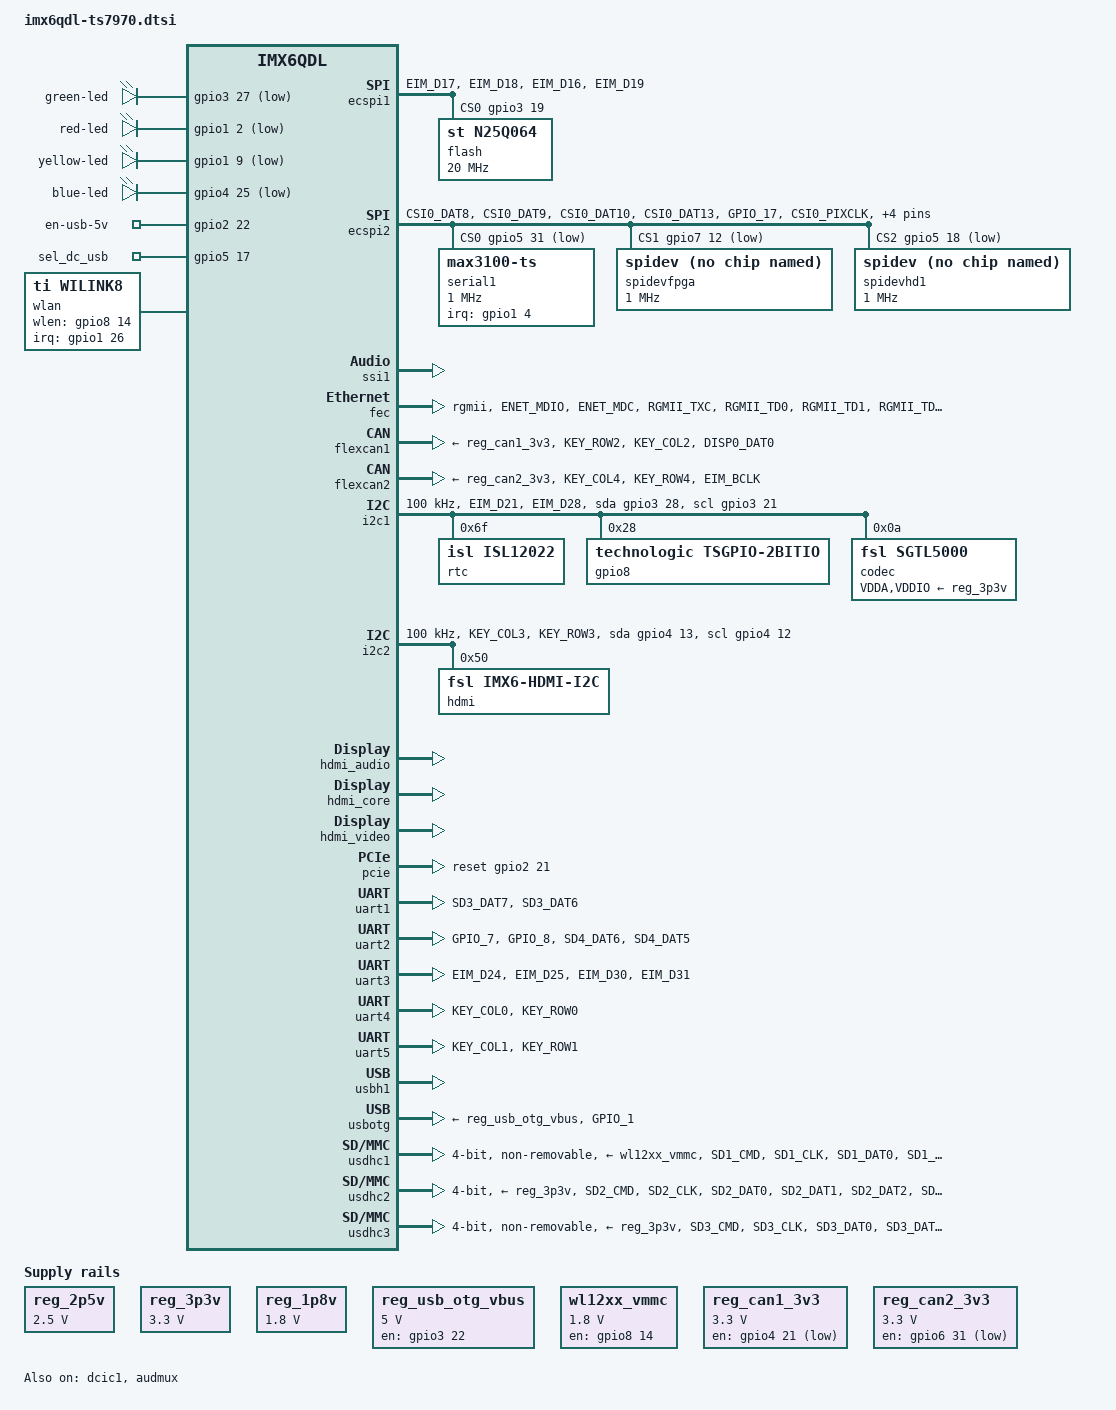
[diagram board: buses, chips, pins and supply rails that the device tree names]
/*
 * Copyright 2011 Freescale Semiconductor, Inc.
 * Copyright 2015 Technologic Systems
 *
 * The code contained herein is licensed under the GNU General Public
 * License. You may obtain a copy of the GNU General Public License
 * Version 2 or later at the following locations:
 *
 * http://www.opensource.org/licenses/gpl-license.html
 * http://www.gnu.org/copyleft/gpl.html
 */

#include <dt-bindings/interrupt-controller/irq.h>

/ {
	aliases {
		mxcfb0 = &mxcfb0;
		ethernet0 = &fec;
	};

	leds {
		pinctrl-names = "default";
		pinctrl-0 = <&pinctrl_leds1>;
		compatible = "gpio-leds";

		green-led {
			label = "green-led";
			gpios = <&gpio3 27 GPIO_ACTIVE_LOW>;
			default-state = "on";
		};

		red-led {
			label = "red-led";
			gpios = <&gpio1 2 GPIO_ACTIVE_LOW>;
			default-state = "off";
		};

		yel-led {
			label = "yellow-led";
			gpios = <&gpio1 9 GPIO_ACTIVE_LOW>;
			default-state = "off";
		};

		blue-led {
			label = "blue-led";
			gpios = <&gpio4 25 GPIO_ACTIVE_LOW>;
			default-state = "off";
		};

		// These are intended as userspace controlled IO.  In this kernel
		// version LEDs are the best interface I can find to allow both
		// userspace control and a default value.
		en-usb-5v {
			label = "en-usb-5v";
			gpios = <&gpio2 22 0>;
			default-state = "on";
		};

		sel_dc_usb {
			label = "sel_dc_usb";
			gpios = <&gpio5 17 0>;
			default-state = "off";
		};
	};

	regulators {
		compatible = "simple-bus";

		reg_2p5v: 2p5v {
			compatible = "regulator-fixed";
			regulator-name = "2P5V";
			regulator-min-microvolt = <2500000>;
			regulator-max-microvolt = <2500000>;
			regulator-always-on;
		};

		reg_3p3v: 3p3v {
			compatible = "regulator-fixed";
			regulator-name = "3P3V";
			regulator-min-microvolt = <3300000>;
			regulator-max-microvolt = <3300000>;
			regulator-always-on;
		};

		reg_1p8v: 1p8v {
			compatible = "regulator-fixed";
			regulator-name = "1P8V";
			regulator-min-microvolt = <1800000>;
			regulator-max-microvolt = <1800000>;
			regulator-always-on;
		};

		reg_usb_otg_vbus: usb_otg_vbus {
			compatible = "regulator-fixed";
			regulator-name = "usb_otg_vbus";
			regulator-min-microvolt = <5000000>;
			regulator-max-microvolt = <5000000>;
			gpio = <&gpio3 22 0>;
			enable-active-high;
		};

		wl12xx_vmmc: wl12xx_vmmc {
			compatible = "regulator-fixed";
			regulator-name = "wl12xx_vmmc";
			regulator-min-microvolt = <1800000>;
			regulator-max-microvolt = <1800000>;
			gpio = <&gpio8 14 0>;
			startup-delay-us = <100000>;
			enable-active-high;
			regulator-boot-on;
		};

		usb-hub-reset {
			label = "usb-hub-reset";
			regulator-min-microvolt = <5000000>;
			regulator-max-microvolt = <5000000>;
			gpios = <&gpio2 11 0>;
			enable-active-high;
			startup-delay-us = <200>;
		};

		reg_can1_3v3: reg_can1_3v3 {
			compatible = "regulator-fixed";
			regulator-name = "reg_can1_3v3";
			regulator-min-microvolt = <3300000>;
			regulator-max-microvolt = <3300000>;
			gpio = <&gpio4 21 1>;
		};

		reg_can2_3v3: en-reg_can2_3v3 {
			compatible = "regulator-fixed";
			regulator-name = "reg_can2_3v3";
			regulator-min-microvolt = <3300000>;
			regulator-max-microvolt = <3300000>;
			gpio = <&gpio6 31 1>;
		};
	};

	sound {
		compatible = "fsl,imx6q-ts7970-sgtl5000",
			     "fsl,imx-audio-sgtl5000";
		model = "imx6q-ts7970-sgtl5000";
		cpu-dai = <&ssi1>;
		audio-codec = <&codec>;
		audio-routing =
			"MIC_IN", "Mic Jack",
			"Mic Jack", "Mic Bias",
			"Headphone Jack", "HP_OUT";
		mux-int-port = <1>;
		mux-ext-port = <3>;
	};

	sound-hdmi {
		compatible = "fsl,imx6q-audio-hdmi",
			     "fsl,imx-audio-hdmi";
		model = "imx-audio-hdmi";
		hdmi-controller = <&hdmi_audio>;
	};

	mxcfb0: fb@0 {
		compatible = "fsl,mxc_sdc_fb";
		disp_dev = "hdmi";
		interface_pix_fmt = "RGB24";
		mode_str ="1920x1080M@60";
		default_bpp = <24>;
		int_clk = <0>;
		late_init = <0>;
		status = "okay";
	};

	wlan {
		compatible = "ti,wilink8";
		interrupt-parent = <&gpio1>;
		wlen-gpio = <&gpio8 14 0>;
		interrupts = <26 IRQ_TYPE_EDGE_FALLING>;
	};
};

&ecspi1 {
	fsl,spi-num-chipselects = <1>;
	cs-gpios = <&gpio3 19 0>;
	pinctrl-names = "default";
	pinctrl-0 = <&pinctrl_ecspi1>;
	status = "okay";

	flash: n25q064@0 {
		compatible = "st,n25q064";
		spi-max-frequency = <20000000>;
		reg = <0>;
		#address-cells = <1>;
		#size-cells = <1>;

		uboot@0 {
			label = "U-Boot";
			reg = <0x0000000 0x0100000>;
		};
		ubootenv@0100000 {
			label = "env";
			reg = <0x0100000 0x0020000>;
		};
		user@0400000 {
			label = "user-data";
			reg = <0x0400000 0x0400000>;
		};
	};
};

&ecspi2 {
	fsl,spi-num-chipselects = <3>;
	cs-gpios = <&gpio5 31 1>, <&gpio7 12 1>, <&gpio5 18 1>;
	pinctrl-names = "default";
	pinctrl-0 = <&pinctrl_ecspi2>;
	status = "okay";

	serial1: max3100-1@0 {
		compatible = "max3100-ts";
		reg = <0>;
		interrupt-parent = <&gpio1>;
		interrupts = <4 2>;
		spi-max-frequency = <1000000>;
		loopback = <0>;
		crystal = <1>;
		poll-time = <100>;
		fifo-size = <16>;
	};

	spidevfpga: spi@1 {
		compatible = "spidev";
		reg = <1>;
		spi-max-frequency = <1000000>;
	};

	spidevhd1: spi@2 {
		compatible = "spidev";
		reg = <2>;
		spi-max-frequency = <1000000>;
	};
};

&ssi1 {
	fsl,mode = "i2s-slave";
	status = "okay";
};

&fec {
	pinctrl-names = "default";
	pinctrl-0 = <&pinctrl_enet>;
	phy-mode = "rgmii";
	status = "okay";
};

&flexcan1 {
	pinctrl-names = "default";
	pinctrl-0 = <&pinctrl_flexcan1>;
	status = "okay";
	xceiver-supply = <&reg_can1_3v3>;
};

&flexcan2 {
	pinctrl-names = "default";
	pinctrl-0 = <&pinctrl_flexcan2>;
	status = "okay";
	xceiver-supply = <&reg_can2_3v3>;
};

&i2c1 {
	status = "okay";
	clock-frequency = <100000>;
	pinctrl-names = "default", "gpio";
	pinctrl-0 = <&pinctrl_i2c1>;
	pinctrl-1 = <&pinctrl_i2c1_gpio>;
	scl-gpios = <&gpio3 21 0>;
	sda-gpios = <&gpio3 28 0>;

	rtc: isl12022@6f {
		compatible = "isl,isl12022";
		reg = <0x6f>;
	};

	gpio8: tsgpio@28 {
		compatible = "technologic,tsgpio-2bitio";
		reg = <0x28>;
		#gpio-cells = <2>;
		gpio-controller;
		base = <224>;
		ngpio = /bits/ 16 <64>;
	};

	codec: sgtl5000@0a {
		compatible = "fsl,sgtl5000";
		reg = <0x0a>;
		clocks = <&clks 201>;
		VDDA-supply = <&reg_3p3v>;
		VDDIO-supply = <&reg_3p3v>;
	};
};

&i2c2 {
	status = "okay";
	clock-frequency = <100000>;
	pinctrl-names = "default", "gpio";
	pinctrl-0 = <&pinctrl_i2c2>;
	pinctrl-1 = <&pinctrl_i2c2_gpio>;
	scl-gpios = <&gpio4 12 0>;
	sda-gpios = <&gpio4 13 0>;

	hdmi: edid@50 {
		compatible = "fsl,imx6-hdmi-i2c";
		reg = <0x50>;
	};
};

&iomuxc {
	pinctrl-names = "default";
	pinctrl-0 = <&pinctrl_hog>;

	imx6-ts4900 {
		pinctrl_ecspi1: ecspi1grp {
			fsl,pins = <
				MX6QDL_PAD_EIM_D17__ECSPI1_MISO 0x100b1
				MX6QDL_PAD_EIM_D18__ECSPI1_MOSI 0x100b1
				MX6QDL_PAD_EIM_D16__ECSPI1_SCLK 0x100b1
				MX6QDL_PAD_EIM_D19__GPIO3_IO19  0x100b1 // onboard flash cs#
			>;
		};

		pinctrl_ecspi2: ecspi2 {
			fsl,pins = <
				MX6QDL_PAD_CSI0_DAT8__ECSPI2_SCLK      0x100b1
				MX6QDL_PAD_CSI0_DAT9__ECSPI2_MOSI      0x100b1
				MX6QDL_PAD_CSI0_DAT10__ECSPI2_MISO     0x100b1
				MX6QDL_PAD_CSI0_DAT13__GPIO5_IO31      0x1b0b1 // FPGA_SPI_CS0#
				MX6QDL_PAD_GPIO_17__GPIO7_IO12         0x1b0b1 // FPGA_SPI_CS1#
				MX6QDL_PAD_CSI0_PIXCLK__GPIO5_IO18     0x1b0b1 // HD1_SPI_CS#
				MX6QDL_PAD_CSI0_VSYNC__GPIO5_IO21      0x1b0b1 // FPGA_RESET#
				MX6QDL_PAD_GPIO_3__XTALOSC_REF_CLK_24M 0x10       // FPGA 24MHZ
				MX6QDL_PAD_CSI0_DATA_EN__GPIO5_IO20    0x1b0b1 // FPGA_IRQ_0
				MX6QDL_PAD_GPIO_4__GPIO1_IO04          0x1b0b1 // FPGA_IRQ_1
			>;
		};

		pinctrl_enet: enet {
			fsl,pins = <
				MX6QDL_PAD_ENET_MDIO__ENET_MDIO       0x1b0b0
				MX6QDL_PAD_ENET_MDC__ENET_MDC         0x1b0b0
				MX6QDL_PAD_RGMII_TXC__RGMII_TXC       0x1b0b0
				MX6QDL_PAD_RGMII_TD0__RGMII_TD0       0x1b0b0
				MX6QDL_PAD_RGMII_TD1__RGMII_TD1       0x1b0b0
				MX6QDL_PAD_RGMII_TD2__RGMII_TD2       0x1b0b0
				MX6QDL_PAD_RGMII_TD3__RGMII_TD3       0x1b0b0
				MX6QDL_PAD_RGMII_TX_CTL__RGMII_TX_CTL 0x1b0b0
				MX6QDL_PAD_ENET_REF_CLK__ENET_TX_CLK  0x1b0b0
				MX6QDL_PAD_RGMII_RXC__RGMII_RXC       0x1b0b0
				MX6QDL_PAD_RGMII_RD0__RGMII_RD0       0x1b0b0
				MX6QDL_PAD_RGMII_RD1__RGMII_RD1       0x1b0b0
				MX6QDL_PAD_RGMII_RD2__RGMII_RD2       0x1b0b0
				MX6QDL_PAD_RGMII_RD3__RGMII_RD3       0x1b0b0
				MX6QDL_PAD_RGMII_RX_CTL__RGMII_RX_CTL 0x1b0b0
				MX6QDL_PAD_ENET_REF_CLK__ENET_TX_CLK  0x4001b0a8
				MX6QDL_PAD_ENET_TX_EN__GPIO1_IO28     0x1b0b1
				MX6QDL_PAD_DI0_PIN4__GPIO4_IO20       0x1b0b1 // ETH_PHY_RESET
			>;
		};

		pinctrl_flexcan1: flexcan1grp {
			fsl,pins = <
				MX6QDL_PAD_KEY_ROW2__FLEXCAN1_RX  0x1b0b1
				MX6QDL_PAD_KEY_COL2__FLEXCAN1_TX  0x1b0b1
				MX6QDL_PAD_DISP0_DAT0__GPIO4_IO21 0x1b0b1 // EN_CAN_1#
			>;
		};

		pinctrl_flexcan2: flexcan2grp {
			fsl,pins = <
				MX6QDL_PAD_KEY_COL4__FLEXCAN2_TX 0x1b0b1
				MX6QDL_PAD_KEY_ROW4__FLEXCAN2_RX 0x1b0b1
				MX6QDL_PAD_EIM_BCLK__GPIO6_IO31  0x1b0b1 // EN_CAN_2#
			>;
		};

		pinctrl_i2c1: i2c1grp {
			fsl,pins = <
				MX6QDL_PAD_EIM_D21__I2C1_SCL 0x4001b8b1
				MX6QDL_PAD_EIM_D28__I2C1_SDA 0x4001b8b1
			>;
		};

		pinctrl_i2c1_gpio: i2c1gpiogrp {
			fsl,pins = <
				MX6QDL_PAD_EIM_D21__GPIO3_IO21 0x4001b8b1
				MX6QDL_PAD_EIM_D28__GPIO3_IO28 0x4001b8b1
			>;
		};

		pinctrl_i2c2: i2c2grp {
			fsl,pins = <
				MX6QDL_PAD_KEY_COL3__I2C2_SCL 0x4001b8b1
				MX6QDL_PAD_KEY_ROW3__I2C2_SDA 0x4001b8b1
			>;
		};

		pinctrl_i2c2_gpio: i2c2gpiogrp {
			fsl,pins = <
				MX6QDL_PAD_KEY_COL3__GPIO4_IO12 0x4001b8b1
				MX6QDL_PAD_KEY_ROW3__GPIO4_IO13 0x4001b8b1
			>;
		};

		pinctrl_uart1: uart1-grp {
			fsl,pins = <
				MX6QDL_PAD_SD3_DAT7__UART1_TX_DATA    0x1b0b1
				MX6QDL_PAD_SD3_DAT6__UART1_RX_DATA    0x1b0b1
			>;
		};

		pinctrl_uart2: uart2-grp {
			fsl,pins = <
				MX6QDL_PAD_GPIO_7__UART2_TX_DATA    0x1b0b1
				MX6QDL_PAD_GPIO_8__UART2_RX_DATA    0x1b0b1
				MX6QDL_PAD_SD4_DAT6__UART2_CTS_B    0x1b0b1
				MX6QDL_PAD_SD4_DAT5__UART2_RTS_B    0x1b0b1
			>;
		};

		pinctrl_uart3: uart3-grp {
			fsl,pins = <
				MX6QDL_PAD_EIM_D24__UART3_TX_DATA	0x1b0b1
				MX6QDL_PAD_EIM_D25__UART3_RX_DATA	0x1b0b1
				MX6QDL_PAD_EIM_D30__UART3_RTS_B     0x1b0b1
				MX6QDL_PAD_EIM_D31__UART3_CTS_B     0x1b0b1
			>;
		};

		pinctrl_uart4: uart4-grp {
			fsl,pins = <
				MX6QDL_PAD_KEY_COL0__UART4_TX_DATA    0x1b0b1
				MX6QDL_PAD_KEY_ROW0__UART4_RX_DATA    0x1b0b1
			>;
		};

		pinctrl_uart5: uart5-grp {
			fsl,pins = <
				MX6QDL_PAD_KEY_COL1__UART5_TX_DATA    0x1b0b1
				MX6QDL_PAD_KEY_ROW1__UART5_RX_DATA    0x1b0b1
			>;
		};

		pinctrl_usbotg: usbotggrp {
			fsl,pins = <
				MX6QDL_PAD_GPIO_1__USB_OTG_ID 0x17059
			>;
		};

		pinctrl_usdhc1: usdhc1grp {
			fsl,pins = <
				MX6QDL_PAD_SD1_CMD__SD1_CMD      0x17059
				MX6QDL_PAD_SD1_CLK__SD1_CLK      0x10059
				MX6QDL_PAD_SD1_DAT0__SD1_DATA0   0x17059
				MX6QDL_PAD_SD1_DAT1__SD1_DATA1   0x17059
				MX6QDL_PAD_SD1_DAT2__SD1_DATA2   0x17059
				MX6QDL_PAD_SD1_DAT3__SD1_DATA3   0x17059
				MX6QDL_PAD_ENET_RXD1__GPIO1_IO26 0x17059 // WIFI IRQ
			>;
		};

		pinctrl_usdhc2: usdhc2grp {
			fsl,pins = <
				MX6QDL_PAD_SD2_CMD__SD2_CMD    0x17059
				MX6QDL_PAD_SD2_CLK__SD2_CLK    0x10059
				MX6QDL_PAD_SD2_DAT0__SD2_DATA0 0x17059
				MX6QDL_PAD_SD2_DAT1__SD2_DATA1 0x17059
				MX6QDL_PAD_SD2_DAT2__SD2_DATA2 0x17059
				MX6QDL_PAD_SD2_DAT3__SD2_DATA3 0x17059
				MX6QDL_PAD_EIM_EB0__GPIO2_IO28 0x1b0b1 // EN_SD_POWER#
			>;
		};

		pinctrl_usdhc3: usdhc3grp {
			fsl,pins = <
				MX6QDL_PAD_SD3_CMD__SD3_CMD    0x17059
				MX6QDL_PAD_SD3_CLK__SD3_CLK    0x10059
				MX6QDL_PAD_SD3_DAT0__SD3_DATA0 0x17059
				MX6QDL_PAD_SD3_DAT1__SD3_DATA1 0x17059
				MX6QDL_PAD_SD3_DAT2__SD3_DATA2 0x17059
				MX6QDL_PAD_SD3_DAT3__SD3_DATA3 0x17059
			>;
		};

		pinctrl_leds1: leds1grp {
			fsl,pins = <
				MX6QDL_PAD_EIM_D27__GPIO3_IO27         0x1b0b1 // GREEN_LED#
				MX6QDL_PAD_GPIO_2__GPIO1_IO02          0x1b0b1 // RED_LED#
				MX6QDL_PAD_GPIO_9__GPIO1_IO09          0x1b0b1 // YEL_LED#
				MX6QDL_PAD_DISP0_DAT4__GPIO4_IO25      0x1b0b1 // IMX6_BLUE_LED
			>;
		};

		pinctrl_audmux: audmuxgrp {
			fsl,pins = <
				MX6QDL_PAD_CSI0_DAT7__AUD3_RXD  0x130b0
				MX6QDL_PAD_CSI0_DAT4__AUD3_TXC  0x130b0
				MX6QDL_PAD_CSI0_DAT5__AUD3_TXD  0x110b0
				MX6QDL_PAD_CSI0_DAT6__AUD3_TXFS 0x130b0
				MX6QDL_PAD_GPIO_0__CCM_CLKO1    0x130b0    // Audio CLK
			>;
		};

		pinctrl_hog: hoggrp {
			fsl,pins = <
				// Onboard
				MX6QDL_PAD_SD4_DAT3__GPIO2_IO11        0x1b0b1 // USB_HUB_RESET#
				MX6QDL_PAD_DISP0_DAT23__GPIO5_IO17     0x1b0b1 // SEL_DC_USB#
				MX6QDL_PAD_EIM_A16__GPIO2_IO22         0x1b0b1 // EN_USB_5V#
				MX6QDL_PAD_DISP0_DAT14__GPIO5_IO08     0x1b0b1 // JTAG_FPGA_TMS
				MX6QDL_PAD_DISP0_DAT17__GPIO5_IO11     0x1b0b1 // JTAG_FPGA_TCK
				MX6QDL_PAD_DISP0_DAT18__GPIO5_IO12     0x1b0b1 // JTAG_FPGA_TDO
				MX6QDL_PAD_DISP0_DAT22__GPIO5_IO16     0x1b0b1 // JTAG_FPGA_TDI
				MX6QDL_PAD_DISP0_DAT20__GPIO5_IO14     0x1b0b1 // GYRO_INT
				MX6QDL_PAD_EIM_OE__GPIO2_IO25          0x1b0b1 // MODBUS_FAULT
				MX6QDL_PAD_EIM_RW__GPIO2_IO26          0x1b0b1 // BUS_DIR/JP_SD_BOOT#
				MX6QDL_PAD_EIM_A19__GPIO2_IO19         0x1b0b1 // EN_MODBUS_24V#
				MX6QDL_PAD_DISP0_DAT5__GPIO4_IO26      0x1b0b1 // EN_MODBUS_3V#
				MX6QDL_PAD_EIM_A17__GPIO2_IO21         0x1b0b1 // I210_RESET#
				MX6QDL_PAD_EIM_D23__GPIO3_IO23         0x1b0b1 // EN_RTC_PWR#

				// Offboard
				MX6QDL_PAD_DISP0_DAT7__GPIO4_IO28      0x1b0b1 // LCD_D09
				MX6QDL_PAD_DISP0_DAT9__GPIO4_IO30      0x1b0b1 // HD1_IRQ
				MX6QDL_PAD_DISP0_DAT10__GPIO4_IO31     0x1b0b1 // LCD_D10
				MX6QDL_PAD_DISP0_DAT11__GPIO5_IO05     0x1b0b1 // LCD_D11
				MX6QDL_PAD_EIM_LBA__GPIO2_IO27         0x1b0b1 // BUS_ALE#
				MX6QDL_PAD_EIM_CS0__GPIO2_IO23         0x1b0b1 // BUS_CS#
				MX6QDL_PAD_EIM_A24__GPIO5_IO04         0x1b0b1 // DIO_20
				MX6QDL_PAD_EIM_WAIT__GPIO5_IO00        0x1b0b1 // BUS_WAIT
				MX6QDL_PAD_EIM_DA0__GPIO3_IO00         0x1b0b1 // MUX_AD_00
				MX6QDL_PAD_EIM_DA1__GPIO3_IO01         0x1b0b1 // MUX_AD_01
				MX6QDL_PAD_EIM_DA2__GPIO3_IO02         0x1b0b1 // MUX_AD_02
				MX6QDL_PAD_EIM_DA3__GPIO3_IO03         0x1b0b1 // MUX_AD_03
				MX6QDL_PAD_EIM_DA4__GPIO3_IO04         0x1b0b1 // MUX_AD_04
				MX6QDL_PAD_EIM_DA5__GPIO3_IO05         0x1b0b1 // MUX_AD_05
				MX6QDL_PAD_EIM_DA6__GPIO3_IO06         0x1b0b1 // MUX_AD_06
				MX6QDL_PAD_EIM_DA7__GPIO3_IO07         0x1b0b1 // MUX_AD_07
				MX6QDL_PAD_EIM_DA8__GPIO3_IO08         0x1b0b1 // MUX_AD_08
				MX6QDL_PAD_EIM_DA9__GPIO3_IO09         0x1b0b1 // MUX_AD_09
				MX6QDL_PAD_EIM_DA10__GPIO3_IO10        0x1b0b1 // MUX_AD_10
				MX6QDL_PAD_EIM_DA11__GPIO3_IO11        0x1b0b1 // MUX_AD_11
				MX6QDL_PAD_EIM_DA12__GPIO3_IO12        0x1b0b1 // MUX_AD_12
				MX6QDL_PAD_EIM_DA13__GPIO3_IO13        0x1b0b1 // MUX_AD_13
				MX6QDL_PAD_EIM_DA14__GPIO3_IO14        0x1b0b1 // MUX_AD_14
				MX6QDL_PAD_EIM_DA15__GPIO3_IO15        0x1b0b1 // MUX_AD_15

				// Strapping only
				MX6QDL_PAD_EIM_A18__GPIO2_IO20         0x1b0b1
				MX6QDL_PAD_EIM_A21__GPIO2_IO17         0x1b0b1
			>;
		};
	};
};

&dcic1 {
	dcic_id = <0>;
	dcic_mux = "dcic-hdmi";
	status = "okay";
};

&hdmi_audio {
	status = "okay";
};

&hdmi_core {
	ipu_id = <0>;
	disp_id = <0>;
	status = "okay";
};

&hdmi_video {
	fsl,phy_reg_vlev = <0x0294>;
	fsl,phy_reg_cksymtx = <0x800d>;
	status = "okay";
};

&pcie {
	status = "okay";
	reset-gpio = <&gpio2 21 0>;
};

&uart1 {
	status = "okay";
	pinctrl-names = "default";
	pinctrl-0 = <&pinctrl_uart1>;
};

&uart2 {
	status = "okay";
	pinctrl-names = "default";
	pinctrl-0 = <&pinctrl_uart2>;
	fsl,uart-has-rtscts;
};

&uart3 {
	status = "okay";
	pinctrl-names = "default";
	pinctrl-0 = <&pinctrl_uart3>;
};

&uart4 {
	status = "okay";
	pinctrl-names = "default";
	pinctrl-0 = <&pinctrl_uart4>;
};

&uart5 {
	status = "okay";
	pinctrl-names = "default";
	pinctrl-0 = <&pinctrl_uart5>;
};

&usbh1 {
	status = "okay";
};

&usbotg {
	vbus-supply = <&reg_usb_otg_vbus>;
	pinctrl-names = "default";
	pinctrl-0 = <&pinctrl_usbotg>;
	disable-over-current;
	status = "okay";
};

// WIFI
&usdhc1 {
	pinctrl-names = "default";
	pinctrl-0 = <&pinctrl_usdhc1>;
	vmmc-supply = <&wl12xx_vmmc>;
	bus-width = <4>;
	status = "okay";
	non-removable;
};

// SD
&usdhc2 {
	pinctrl-names = "default";
	pinctrl-0 = <&pinctrl_usdhc2>;
	vmmc-supply = <&reg_3p3v>;
	bus-width = <4>;
	status = "okay";
	//fsl,cd-controller;
	fsl,wp-controller;
};

// eMMC
&usdhc3 {
	pinctrl-names = "default";
	pinctrl-0 = <&pinctrl_usdhc3>;
	vmmc-supply = <&reg_3p3v>;
	bus-width = <4>;
	status = "okay";
	fsl,wp-controller;
	non-removable;
};

&audmux {
	status = "okay";
	pinctrl-names = "default";
	pinctrl-0 = <&pinctrl_audmux>;
};
